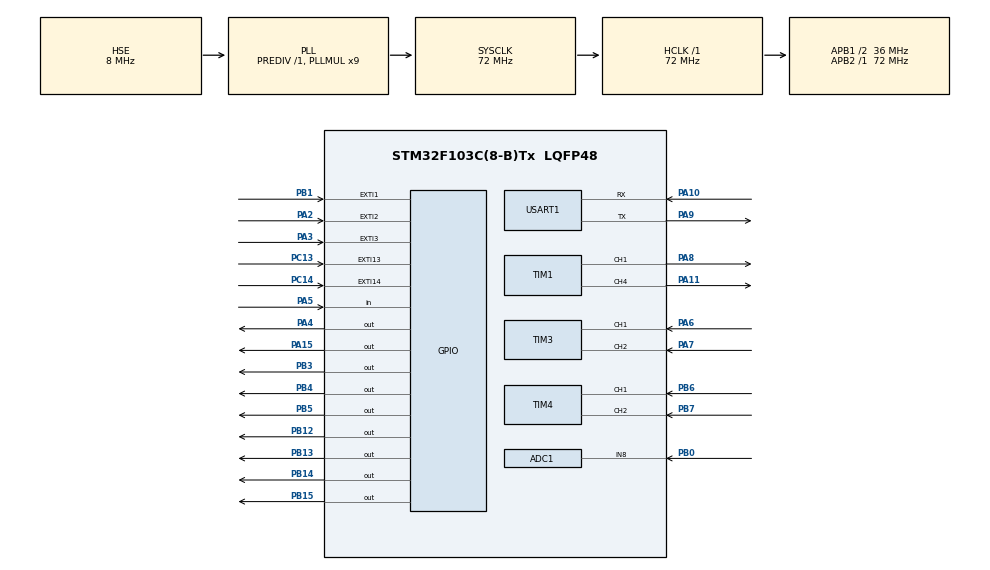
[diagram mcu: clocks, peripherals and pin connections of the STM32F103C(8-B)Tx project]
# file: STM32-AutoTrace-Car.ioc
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ADC1.Channel-1\#ChannelRegularConversion=ADC_CHANNEL_8
ADC1.NbrOfConversionFlag=1
ADC1.Rank-1\#ChannelRegularConversion=1
ADC1.SamplingTime-1\#ChannelRegularConversion=ADC_SAMPLETIME_1CYCLE_5
ADC1.master=1
Mcu.Family=STM32F1
Mcu.Name=STM32F103C(8-B)Tx
Mcu.Package=LQFP48
NVIC.EXTI15_10_IRQn=true\:0\:0\:false\:false\:true\:true\:true\:true
NVIC.EXTI1_IRQn=true\:0\:0\:false\:false\:true\:true\:true\:true
NVIC.EXTI2_IRQn=true\:0\:0\:false\:false\:true\:true\:true\:true
NVIC.EXTI3_IRQn=true\:0\:0\:false\:false\:true\:true\:true\:true
NVIC.PriorityGroup=NVIC_PRIORITYGROUP_4
NVIC.TIM2_IRQn=true\:0\:0\:false\:false\:true\:true\:true\:true
NVIC.USART1_IRQn=true\:0\:0\:false\:false\:true\:true\:true\:true
PA10.Mode=Asynchronous
PA10.Signal=USART1_RX
PA11.Signal=S_TIM1_CH4
PA13.Mode=Serial_Wire
PA13.Signal=SYS_JTMS-SWDIO
PA14.Mode=Serial_Wire
PA14.Signal=SYS_JTCK-SWCLK
PA15.GPIO_ModeDefaultOutputPP=GPIO_MODE_OUTPUT_PP
PA15.Signal=GPIO_Output
PA2.GPIO_ModeDefaultEXTI=GPIO_MODE_IT_RISING_FALLING
PA2.GPIO_PuPd=GPIO_PULLUP
PA2.Signal=GPXTI2
PA3.GPIO_ModeDefaultEXTI=GPIO_MODE_IT_RISING_FALLING
PA3.GPIO_PuPd=GPIO_PULLUP
PA3.Signal=GPXTI3
PA4.GPIO_ModeDefaultOutputPP=GPIO_MODE_OUTPUT_PP
PA4.GPIO_PuPd=GPIO_PULLUP
PA4.Signal=GPIO_Output
PA5.GPIO_PuPd=GPIO_PULLUP
PA5.Signal=GPIO_Input
PA6.Signal=S_TIM3_CH1
PA7.Signal=S_TIM3_CH2
PA8.Signal=S_TIM1_CH1
PA9.Mode=Asynchronous
PA9.Signal=USART1_TX
PB0.Signal=ADCx_IN8
PB1.GPIO_ModeDefaultEXTI=GPIO_MODE_IT_RISING_FALLING
PB1.GPIO_PuPd=GPIO_PULLUP
PB1.Signal=GPXTI1
PB12.Signal=GPIO_Output
PB13.Signal=GPIO_Output
PB14.Signal=GPIO_Output
PB15.Signal=GPIO_Output
PB3.Signal=GPIO_Output
PB4.Signal=GPIO_Output
PB5.Signal=GPIO_Output
PB6.Signal=S_TIM4_CH1
PB7.Signal=S_TIM4_CH2
PC13-TAMPER-RTC.GPIO_ModeDefaultEXTI=GPIO_MODE_IT_RISING_FALLING
PC13-TAMPER-RTC.GPIO_PuPd=GPIO_PULLUP
PC13-TAMPER-RTC.Signal=GPXTI13
PC14-OSC32_IN.GPIO_ModeDefaultEXTI=GPIO_MODE_IT_RISING_FALLING
PC14-OSC32_IN.GPIO_PuPd=GPIO_PULLUP
PC14-OSC32_IN.Signal=GPXTI14
PD0-OSC_IN.Mode=HSE-External-Oscillator
PD0-OSC_IN.Signal=RCC_OSC_IN
PD1-OSC_OUT.Mode=HSE-External-Oscillator
PD1-OSC_OUT.Signal=RCC_OSC_OUT
ProjectManager.HeapSize=0x200
ProjectManager.StackSize=0x400
ProjectManager.TargetToolchain=MDK-ARM V5.32
RCC.ADCPresc=RCC_ADCPCLK2_DIV6
RCC.AHBFreq_Value=72000000
RCC.APB1CLKDivider=RCC_HCLK_DIV2
RCC.APB1Freq_Value=36000000
RCC.APB1TimFreq_Value=72000000
RCC.APB2Freq_Value=72000000
RCC.APB2TimFreq_Value=72000000
RCC.HCLKFreq_Value=72000000
RCC.PLLMUL=RCC_PLL_MUL9
RCC.PLLSourceVirtual=RCC_PLLSOURCE_HSE
RCC.SYSCLKFreq_VALUE=72000000
RCC.SYSCLKSource=RCC_SYSCLKSOURCE_PLLCLK
RCC.USBFreq_Value=72000000
SH.ADCx_IN8.0=ADC1_IN8,IN8
SH.S_TIM1_CH1.0=TIM1_CH1,PWM Generation1 CH1
SH.S_TIM1_CH4.0=TIM1_CH4,PWM Generation4 CH4
SH.S_TIM3_CH1.0=TIM3_CH1,Encoder_Interface
SH.S_TIM3_CH2.0=TIM3_CH2,Encoder_Interface
SH.S_TIM4_CH1.0=TIM4_CH1,Encoder_Interface
SH.S_TIM4_CH2.0=TIM4_CH2,Encoder_Interface
TIM1.Channel-PWM\ Generation1\ CH1=TIM_CHANNEL_1
TIM1.Channel-PWM\ Generation4\ CH4=TIM_CHANNEL_4
TIM2.Period=999
TIM2.Prescaler=71
TIM3.EncoderMode=TIM_ENCODERMODE_TI12
TIM4.EncoderMode=TIM_ENCODERMODE_TI12
USART1.VirtualMode=VM_ASYNC
VP_TIM2_VS_ClockSourceINT.Mode=Internal
board=custom

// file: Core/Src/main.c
/* USER CODE BEGIN Header */
/**
  ******************************************************************************
  * @file           : main.c
  * @brief          : Main program body
  ******************************************************************************
  * @attention
  *
  * Copyright (c) 2026 STMicroelectronics.
  * All rights reserved.
  *
  * This software is licensed under terms that can be found in the LICENSE file
  * in the root directory of this software component.
  * If no LICENSE file comes with this software, it is provided AS-IS.
  *
  ******************************************************************************
  */
/* USER CODE END Header */
#include "main.h"
#include "adc.h"
#include "tim.h"
#include "usart.h"
#include "gpio.h"

/* USER CODE BEGIN Includes */
#include "sensor.h"
#include "sys.h"
#include "motor.h"
#include "linefollow.h"
#include "triangle.h"
#include "circle.h"
#include "linefollowsequence.h"
/* USER CODE END Includes */

/* USER CODE BEGIN PV */
SENSOR_Status_t sensors;
volatile uint32_t ms_counter = 0;
volatile char flag_5ms = 0;
volatile char flag_20ms = 0;
volatile char flag_100ms = 0;
volatile char flag_200ms = 0;
// uint16_t base_speed = 18;
// #define UART_RX_BUF_SIZE    32
// static char     g_uart_rx_buf[UART_RX_BUF_SIZE];
// static uint8_t  g_uart_rx_idx = 0;
// static uint8_t  g_uart_rx_byte = 0;
// volatile char   g_uart_rx_line_ready = 0;
/* USER CODE END PV */

void SystemClock_Config(void);

int main(void)
{

  /* MCU Configuration--------------------------------------------------------*/

  /* Reset of all peripherals, Initializes the Flash interface and the Systick. */
  HAL_Init();

  /* Configure the system clock */
  SystemClock_Config();

  /* Initialize all configured peripherals */
  MX_GPIO_Init();
  MX_TIM1_Init();
  MX_TIM4_Init();
  MX_ADC1_Init();
  MX_USART1_UART_Init();
  MX_TIM3_Init();
  MX_TIM2_Init();
  /* USER CODE BEGIN 2 */
  HAL_TIM_Base_Start_IT(&htim2);
  Motor_Init();
  Motor_SpeedPID_Init();
  SENSOR_Init();
  LineFollow_Init();
  Triangle_Init();
  // Circle_Init();
  // Mode_Init();

  // HAL_UART_Receive_IT(&huart1, &g_uart_rx_byte, 1);
  /* USER CODE END 2 */

  /* Infinite loop */
  while (1)
  {

    /* USER CODE BEGIN 3 */

    /* 5ms: inner motor speed PI */
    if (flag_5ms) {
      flag_5ms = 0;
      SENSOR_ReadRaw(&sensors);
      g_motor_speed_pid_enable = 1;
      Motor_SpeedPID_UpdateAll();
    }

    /* 100ms: outer linefollow + Firewater telemetry */
    if (flag_20ms) {
      flag_20ms = 0;
      LFS_Update();
      // Circle_Update();
      // LineFollow_Update();
      // Triangle_Update();

      /* Firewater binary frame: 4 channels (target_L, actual_L, target_R, actual_R) */
      // float ch[4];
      // ch[0] = (float)LineFollow_GetLeftSpeed()  / 100.0f * g_motor_speed_pid_max_rpm;
      // ch[1] = Motor_GetActualRPM(MOTOR_ID_A);
      // ch[2] = (float)LineFollow_GetRightSpeed() / 100.0f * g_motor_speed_pid_max_rpm;
      // ch[3] = Motor_GetActualRPM(MOTOR_ID_B);

      // printf("%.3f,%.3f,%.3f,%.3f\n", ch[0], ch[1], ch[2], ch[3]);
    }

    /* UART command: host sends kp,ki,kd\n -> sscanf -> SetPID */
    // if (g_uart_rx_line_ready) {
    //   g_uart_rx_line_ready = 0;
    //   float kp, ki, kd;
    //   if (sscanf(g_uart_rx_buf, "%f,%f,%f", &kp, &ki, &kd) == 3) {
    //     LineFollow_SetPID(kp, ki, kd);
    //     printf("PID: kp=%.3f ki=%.4f kd=%.4f\r\n", kp, ki, kd);
    //   }
    // }
  }

  /* USER CODE END 3 */
}

void SystemClock_Config(void)
{
  RCC_OscInitTypeDef RCC_OscInitStruct = {0};
  RCC_ClkInitTypeDef RCC_ClkInitStruct = {0};
  RCC_PeriphCLKInitTypeDef PeriphClkInit = {0};

  /** Initializes the RCC Oscillators according to the specified parameters
  * in the RCC_OscInitTypeDef structure.
  */
  RCC_OscInitStruct.OscillatorType = RCC_OSCILLATORTYPE_HSE;
  RCC_OscInitStruct.HSEState = RCC_HSE_ON;
  RCC_OscInitStruct.HSEPredivValue = RCC_HSE_PREDIV_DIV1;
  RCC_OscInitStruct.HSIState = RCC_HSI_ON;
  RCC_OscInitStruct.PLL.PLLState = RCC_PLL_ON;
  RCC_OscInitStruct.PLL.PLLSource = RCC_PLLSOURCE_HSE;
  RCC_OscInitStruct.PLL.PLLMUL = RCC_PLL_MUL9;
  if (HAL_RCC_OscConfig(&RCC_OscInitStruct) != HAL_OK)
  {
    Error_Handler();
  }

  /** Initializes the CPU, AHB and APB buses clocks
  */
  RCC_ClkInitStruct.ClockType = RCC_CLOCKTYPE_HCLK|RCC_CLOCKTYPE_SYSCLK
                              |RCC_CLOCKTYPE_PCLK1|RCC_CLOCKTYPE_PCLK2;
  RCC_ClkInitStruct.SYSCLKSource = RCC_SYSCLKSOURCE_PLLCLK;
  RCC_ClkInitStruct.AHBCLKDivider = RCC_SYSCLK_DIV1;
  RCC_ClkInitStruct.APB1CLKDivider = RCC_HCLK_DIV2;
  RCC_ClkInitStruct.APB2CLKDivider = RCC_HCLK_DIV1;

  if (HAL_RCC_ClockConfig(&RCC_ClkInitStruct, FLASH_LATENCY_2) != HAL_OK)
  {
    Error_Handler();
  }
  PeriphClkInit.PeriphClockSelection = RCC_PERIPHCLK_ADC;
  PeriphClkInit.AdcClockSelection = RCC_ADCPCLK2_DIV6;
  if (HAL_RCCEx_PeriphCLKConfig(&PeriphClkInit) != HAL_OK)
  {
    Error_Handler();
  }
}

/* USER CODE BEGIN 4 */
void HAL_TIM_PeriodElapsedCallback(TIM_HandleTypeDef *htim){
  if (htim->Instance == TIM2) {
      ms_counter++;
      if (ms_counter % 5 == 0)    flag_5ms = 1;
      if (ms_counter % 20 == 0)   flag_20ms = 1;
      if (ms_counter % 100 == 0)  flag_100ms = 1;
      if (ms_counter % 200 == 0)  flag_200ms = 1;
  }
}

// void HAL_UART_RxCpltCallback(UART_HandleTypeDef *huart)
// {
//     if (huart->Instance != USART1) return;

//     if (g_uart_rx_byte == '\r') {
//         /* skip CR from terminal \r\n */
//     } else if (g_uart_rx_byte == '\n') {
//         g_uart_rx_buf[g_uart_rx_idx] = '\0';
//         g_uart_rx_line_ready = 1;
//         g_uart_rx_idx = 0;
//     } else {
//         if (g_uart_rx_idx < (UART_RX_BUF_SIZE - 1))
//             g_uart_rx_buf[g_uart_rx_idx++] = (char)g_uart_rx_byte;
//     }
//     HAL_UART_Receive_IT(&huart1, &g_uart_rx_byte, 1);
// }
/* USER CODE END 4 */

void Error_Handler(void)
{
  __disable_irq();
  while (1)
  {
  }
}
